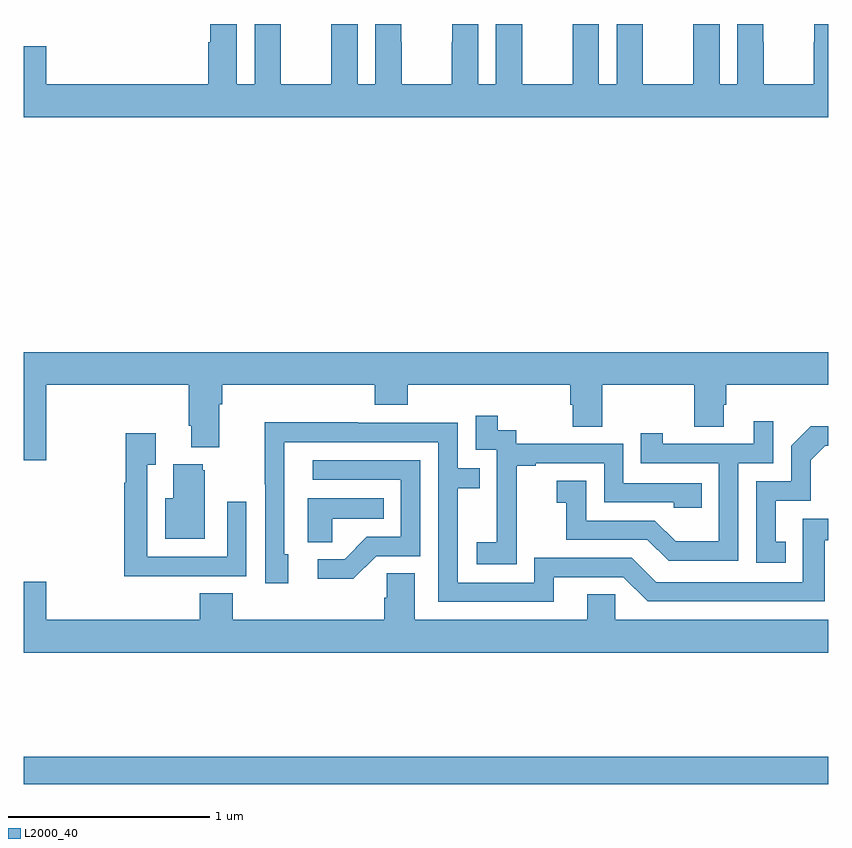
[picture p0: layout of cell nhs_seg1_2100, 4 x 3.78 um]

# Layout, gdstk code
import gdstk
lib = gdstk.Library(unit=1e-6, precision=1e-09)
def R(c, l, rs):  # rectangles x0, y0, x1, y1
    for r in rs: c.add(gdstk.rectangle(r[:2], r[2:], *l))
def P(c, l, *ps):  # polygons
    for p in ps: c.add(gdstk.Polygon(p, *l))
L2000_40 = (2000, 40)

nhs_seg1_2100 = lib.new_cell('nhs_seg1_2100')
R(nhs_seg1_2100, L2000_40, [(225,544.42,229,544.556)])
P(nhs_seg1_2100, L2000_40, [(229,548.199),(228.93,548.199),(228.93,548.108),(228.929,548.108),(228.929,547.9),(228.679,547.9),(228.679,548.108),(228.678,548.108),(228.678,548.199),(228.548,548.199),(228.548,547.9),(228.46,547.9),(228.46,548.199),(228.33,548.199),(228.33,548.108),(228.329,548.108),(228.329,547.9),(228.079,547.9),(228.079,548.108),(228.078,548.108),(228.078,548.199),(227.948,548.199),(227.948,547.9),(227.86,547.9),(227.86,548.199),(227.73,548.199),(227.73,548.108),(227.729,548.108),(227.729,547.9),(227.479,547.9),(227.479,548.108),(227.478,548.108),(227.478,548.199),(227.348,548.199),(227.348,547.9),(227.26,547.9),(227.26,548.199),(227.13,548.199),(227.13,548.108),(227.129,548.108),(227.129,547.9),(226.879,547.9),(226.879,548.108),(226.878,548.108),(226.878,548.199),(226.748,548.199),(226.748,547.9),(226.66,547.9),(226.66,548.199),(226.53,548.199),(226.53,548.108),(226.529,548.108),(226.529,547.9),(226.279,547.9),(226.279,548.108),(226.278,548.108),(226.278,548.199),(226.148,548.199),(226.148,547.9),(226.06,547.9),(226.06,548.199),(225.926,548.199),(225.926,548.108),(225.917,548.108),(225.917,547.9),(225.112,547.9),(225.112,548.089),(225,548.089),(225,547.736),(229,547.736)],
  [(225.112,546.404),(225.821,546.404),(225.821,546.202),(225.833,546.202),(225.833,546.095),(225.973,546.095),(225.973,546.308),(225.986,546.308),(225.986,546.404),(226.745,546.404),(226.745,546.305),(226.91,546.305),(226.91,546.404),(227.717,546.404),(227.717,546.306),(227.729,546.306),(227.729,546.196),(227.877,546.196),(227.877,546.404),(228.334,546.404),(228.334,546.196),(228.481,546.196),(228.481,546.306),(228.494,546.306),(228.494,546.404),(229,546.404),(229,546.568),(225,546.568),(225,546.03),(225.112,546.03)],
  [(227.451,545.719),(227.45,545.719),(227.45,546.003),(227.545,546.003),(227.545,546.015),(227.886,546.015),(227.886,545.82),(228.231,545.82),(228.231,545.793),(228.371,545.793),(228.371,545.916),(227.982,545.916),(227.982,546.111),(227.448,546.111),(227.448,546.18),(227.356,546.18),(227.356,546.25),(227.247,546.25),(227.247,546.081),(227.352,546.081),(227.352,545.852),(227.351,545.852),(227.351,545.623),(227.253,545.623),(227.253,545.513),(227.451,545.513)],
  [(228.552,546.015),(228.726,546.015),(228.726,546.223),(228.629,546.223),(228.629,546.111),(228.178,546.111),(228.178,546.163),(228.067,546.163),(228.067,546.015),(228.456,546.015),(228.456,545.626),(228.242,545.626),(228.138,545.73),(227.796,545.73),(227.796,545.929),(227.649,545.929),(227.649,545.819),(227.698,545.819),(227.698,545.634),(228.101,545.634),(228.206,545.529),(228.552,545.529)],
  [(227.635,545.448),(227.982,545.448),(228.102,545.328),(228.982,545.328),(228.982,545.631),(229,545.631),(229,545.739),(228.873,545.739),(228.873,545.424),(228.144,545.424),(228.024,545.544),(227.538,545.544),(227.538,545.421),(227.157,545.421),(227.157,545.89),(227.267,545.89),(227.267,545.991),(227.157,545.991),(227.157,546.216),(226.661,546.216),(226.661,546.218),(226.198,546.218),(226.198,545.911),(226.2,545.911),(226.2,545.418),(226.315,545.418),(226.315,545.562),(226.296,545.562),(226.296,546.12),(227.061,546.12),(227.061,545.325),(227.635,545.325)],
  [(228.788,545.625),(228.739,545.625),(228.739,545.829),(228.912,545.829),(228.912,546.03),(228.984,546.102),(229,546.102),(229,546.2),(228.914,546.2),(228.816,546.102),(228.816,545.925),(228.642,545.925),(228.642,545.52),(228.788,545.52)],
  [(225.791,545.454),(226.107,545.454),(226.107,545.824),(226.011,545.824),(226.011,545.55),(225.615,545.55),(225.615,546.007),(225.655,546.007),(225.655,546.163),(225.507,546.163),(225.507,545.918),(225.499,545.918),(225.499,545.453),(225.791,545.453)],
  [(226.752,545.553),(226.971,545.553),(226.971,546.03),(226.437,546.03),(226.437,545.934),(226.875,545.934),(226.875,545.649),(226.706,545.649),(226.595,545.538),(226.461,545.538),(226.461,545.441),(226.639,545.441)],
  [(225.901,545.979),(225.89,545.979),(225.89,546.01),(225.743,546.01),(225.743,545.842),(225.704,545.842),(225.704,545.639),(225.901,545.639)],
  [(226.533,545.738),(226.79,545.738),(226.79,545.842),(226.412,545.842),(226.412,545.623),(226.533,545.623)],
  [(229,545.236),(227.94,545.236),(227.94,545.363),(227.801,545.363),(227.801,545.236),(226.945,545.236),(226.945,545.468),(226.806,545.468),(226.806,545.345),(226.793,545.345),(226.793,545.236),(226.04,545.236),(226.04,545.369),(225.875,545.369),(225.875,545.236),(225.112,545.236),(225.112,545.425),(225,545.425),(225,545.072),(229,545.072)])

lib.write_gds('nhs_seg1_2100.gds')
